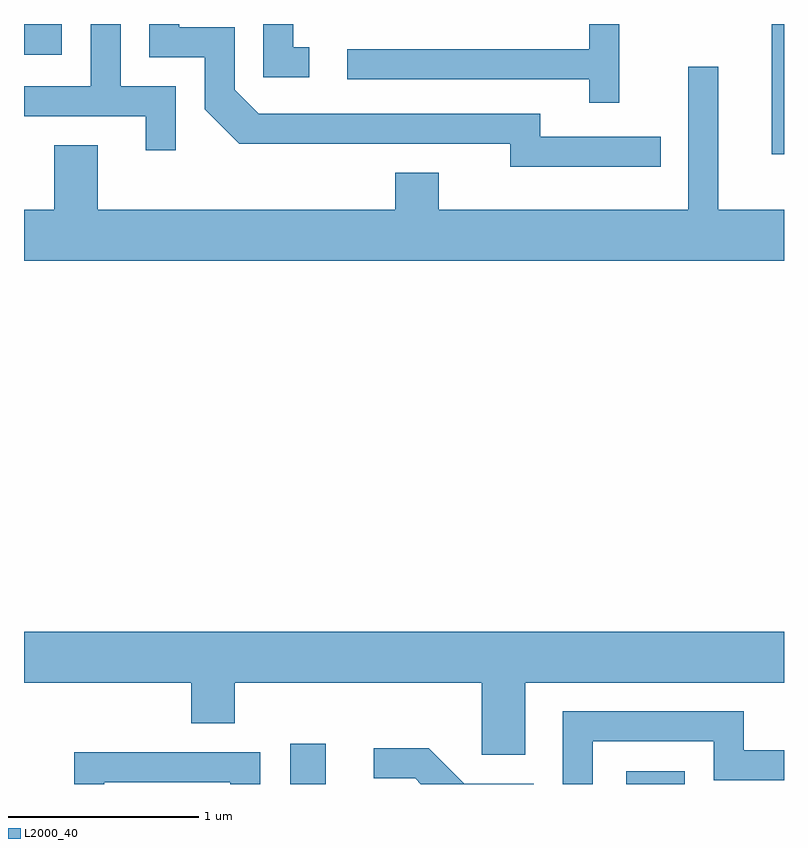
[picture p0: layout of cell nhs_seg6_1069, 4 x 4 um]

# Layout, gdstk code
import gdstk
lib = gdstk.Library(unit=1e-6, precision=1e-09)
def R(c, l, rs):  # rectangles x0, y0, x1, y1
    for r in rs: c.add(gdstk.rectangle(r[:2], r[2:], *l))
def P(c, l, *ps):  # polygons
    for p in ps: c.add(gdstk.Polygon(p, *l))
L2000_40 = (2000, 40)

nhs_seg6_1069 = lib.new_cell('nhs_seg6_1069')
R(nhs_seg6_1069, L2000_40, [(219.011,1556.162,219.199,1556.374), (220.781,1556.162,221.089,1556.229), (221.546,1559.476,221.611,1560.162), (217.611,1560.001,217.809,1560.162)])
P(nhs_seg6_1069, L2000_40, [(219.113,1560.039),(219.029,1560.039),(219.029,1560.162),(218.871,1560.162),(218.871,1559.881),(219.113,1559.881)],
  [(218.409,1559.834),(218.119,1559.834),(218.119,1560.162),(217.961,1560.162),(217.961,1559.834),(217.611,1559.834),(217.611,1559.676),(218.251,1559.676),(218.251,1559.498),(218.409,1559.498)],
  [(220.744,1560.162),(220.586,1560.162),(220.586,1560.029),(219.313,1560.029),(219.313,1559.871),(220.586,1559.871),(220.586,1559.748),(220.744,1559.748)],
  [(220.963,1559.569),(220.329,1559.569),(220.329,1559.689),(218.847,1559.689),(218.719,1559.817),(218.719,1560.144),(218.429,1560.144),(218.429,1560.162),(218.271,1560.162),(218.271,1559.986),(218.561,1559.986),(218.561,1559.714),(218.744,1559.531),(220.171,1559.531),(220.171,1559.411),(220.963,1559.411)],
  [(221.611,1559.184),(221.264,1559.184),(221.264,1559.938),(221.106,1559.938),(221.106,1559.184),(219.794,1559.184),(219.794,1559.379),(219.566,1559.379),(219.566,1559.184),(217.999,1559.184),(217.999,1559.524),(217.771,1559.524),(217.771,1559.184),(217.611,1559.184),(217.611,1558.916),(221.611,1558.916)],
  [(220.249,1556.696),(221.611,1556.696),(221.611,1556.964),(217.611,1556.964),(217.611,1556.696),(218.491,1556.696),(218.491,1556.481),(218.719,1556.481),(218.719,1556.696),(220.021,1556.696),(220.021,1556.316),(220.249,1556.316)],
  [(220.604,1556.386),(221.241,1556.386),(221.241,1556.181),(221.611,1556.181),(221.611,1556.339),(221.399,1556.339),(221.399,1556.544),(220.446,1556.544),(220.446,1556.162),(220.604,1556.162)],
  [(220.294,1556.164),(219.927,1556.164),(219.742,1556.349),(219.453,1556.349),(219.453,1556.191),(219.669,1556.191),(219.698,1556.162),(220.294,1556.162)],
  [(218.034,1556.171),(218.696,1556.171),(218.696,1556.162),(218.854,1556.162),(218.854,1556.329),(217.876,1556.329),(217.876,1556.162),(218.034,1556.162)])

lib.write_gds('nhs_seg6_1069.gds')
